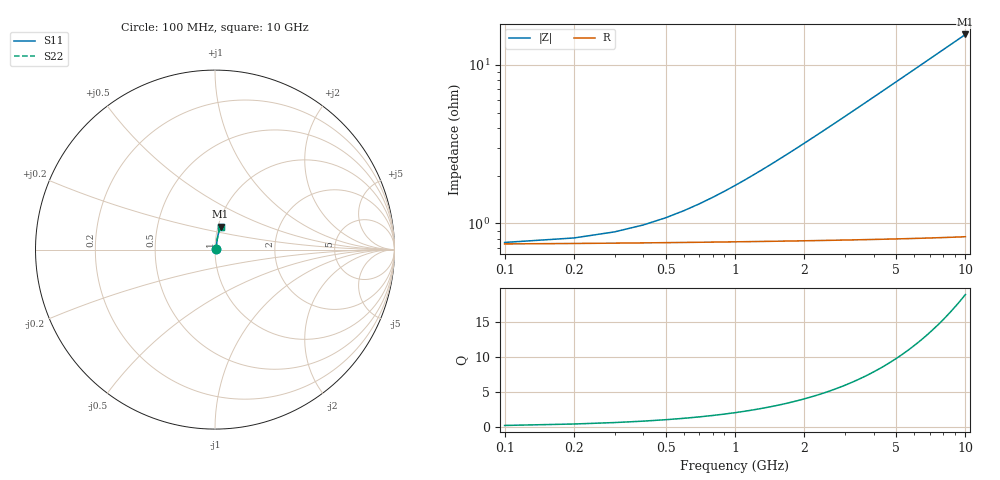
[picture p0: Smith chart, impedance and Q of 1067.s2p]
# Hz S RI R 50.00
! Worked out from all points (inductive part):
!   100 points, 100 MHz to 10 GHz, reference 50 ohm
!   read as one part in series: L = 248 pH near 1.5 GHz
!   highest Q = 18.9 at 10 GHz (marker M1), where L = 248 pH
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1e8  0.00736 0.00131  0.9926 -0.00176  0.9926 -0.00176  0.00736 0.00131
2e8  0.00741 0.00262  0.9926 -0.00351  0.9926 -0.00351  0.00741 0.00262
3e8  0.00746 0.00393  0.9925 -0.00527  0.9925 -0.00527  0.00746 0.00393
4e8  0.0075 0.00524  0.9925 -0.00702  0.9925 -0.00702  0.0075 0.00524
8e8  0.0077 0.0105  0.9923 -0.014  0.9923 -0.014  0.0077 0.0105
1.1e9  0.00787 0.0144  0.9921 -0.0193  0.9921 -0.0193  0.00787 0.0144
1.4e9  0.00808 0.0183  0.9919 -0.0246  0.9919 -0.0246  0.00808 0.0183
1.6e9  0.00825 0.0209  0.9917 -0.0281  0.9917 -0.0281  0.00825 0.0209
1.8e9  0.00842 0.0235  0.9915 -0.0316  0.9915 -0.0316  0.00842 0.0235
2.1e9  0.00872 0.0274  0.9912 -0.0368  0.9912 -0.0368  0.00872 0.0274
2.5e9  0.00918 0.0327  0.9907 -0.0438  0.9907 -0.0438  0.00918 0.0327
2.9e9  0.00971 0.0379  0.9902 -0.0508  0.9902 -0.0508  0.00971 0.0379
3.4e9  0.0105 0.0444  0.9894 -0.0595  0.9894 -0.0595  0.0105 0.0444
3.8e9  0.0112 0.0495  0.9887 -0.0665  0.9887 -0.0665  0.0112 0.0495
4.2e9  0.0119 0.0547  0.9879 -0.0735  0.9879 -0.0735  0.0119 0.0547
4.6e9  0.0128 0.0599  0.987 -0.0804  0.987 -0.0804  0.0128 0.0599
5.1e9  0.0139 0.0663  0.9858 -0.0891  0.9858 -0.0891  0.0139 0.0663
5.9e9  0.016 0.0765  0.9837 -0.1029  0.9837 -0.1029  0.016 0.0765
6.7e9  0.0183 0.0867  0.9812 -0.1166  0.9812 -0.1166  0.0183 0.0867
7.5e9  0.0209 0.0967  0.9785 -0.1303  0.9785 -0.1303  0.0209 0.0967
8.4e9  0.0242 0.108  0.975 -0.1456  0.975 -0.1456  0.0242 0.108
1e10  0.0309 0.1276  0.968 -0.1724  0.968 -0.1724  0.0309 0.1276
